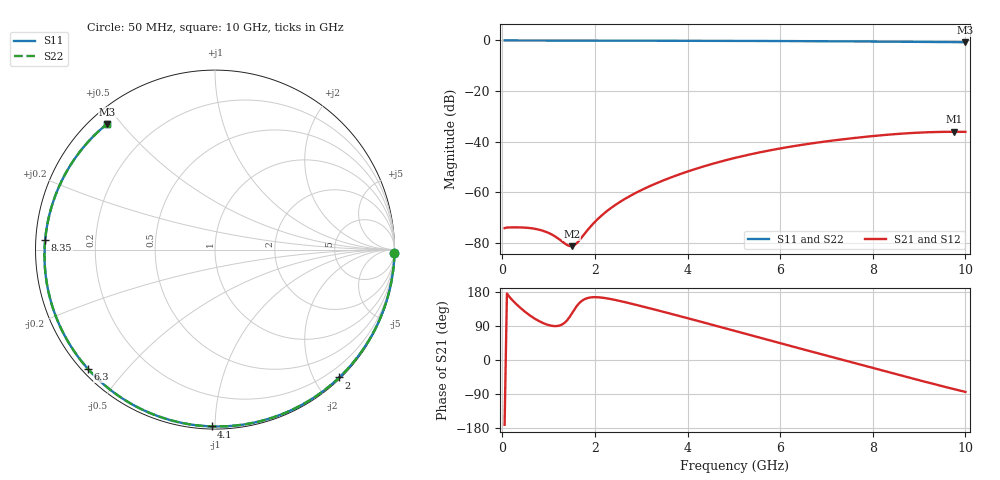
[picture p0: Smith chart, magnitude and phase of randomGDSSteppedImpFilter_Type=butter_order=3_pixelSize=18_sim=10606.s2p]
! freq	dB(S11)	phase(S11)	dB(S12)	phase(S12)
!  dB(S21)	phase(S21)	dB(S22)	phase(S22)
!S-par simulation data
#  GHz  S  DB  R 50
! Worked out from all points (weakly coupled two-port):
!   200 points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, 50 MHz to 10 GHz, reference 50 ohm
!   highest |S21| = -36.07 dB at 9.75 GHz (marker M1); lowest = -81.3 dB at 1.5 GHz (marker M2)
!   lowest |S11| = -0.7 dB at 10 GHz (marker M3), VSWR 24.89, Z = 2.43 + j22.9 ohm
!   |S11| at or under -10 dB: nowhere
!   |S22| runs from -0.7 to 0.0 dB; largest |S21 - S12| = 0
!   S11 on the Smith chart (normalised r, x): 50 MHz: 0, -98; 2 GHz: 0.02, -2.37; 4.1 GHz: 0.01, -0.98; 6.3 GHz: 0.02, -0.40; 8.35 GHz: 0.03, +0.03; 10 GHz: 0.05, +0.46
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0.05  -0.00 -1.2  -74.13 -171.1  -74.13 -171.1  -0.00 -1.2
0.4  -0.01 -9.3  -73.86 136.5  -73.86 136.5  -0.01 -9.3
0.75  -0.02 -17.4  -74.56 105.6  -74.56 105.6  -0.02 -17.4
1.05  -0.03 -24.3  -76.47 90.7  -76.47 90.7  -0.03 -24.3
1.35  -0.04 -31.2  -80.18 98.7  -80.18 98.7  -0.04 -31.2
1.5  -0.04 -34.6  -81.26 122.3  -81.26 122.3  -0.04 -34.6
1.6  -0.05 -36.8  -80.23 141.0  -80.23 141.0  -0.05 -36.8
1.75  -0.05 -40.2  -76.98 158.7  -76.98 158.7  -0.05 -40.2
2  -0.06 -45.8  -71.65 165.8  -71.65 165.8  -0.06 -45.8
2.25  -0.07 -51.3  -67.54 162.9  -67.54 162.9  -0.07 -51.3
2.6  -0.08 -59.0  -63.11 154.1  -63.11 154.1  -0.08 -59.0
3.4  -0.10 -76.3  -55.85 129.7  -55.85 129.7  -0.10 -76.3
4.1  -0.13 -91.1  -51.17 107.2  -51.17 107.2  -0.13 -91.1
5.05  -0.17 -110.8  -46.28 75.9  -46.28 75.9  -0.17 -110.8
5.65  -0.21 -123.2  -43.86 56.0  -43.86 56.0  -0.21 -123.2
6.3  -0.26 -136.8  -41.72 34.5  -41.72 34.5  -0.26 -136.8
6.7  -0.29 -145.3  -40.61 21.5  -40.61 21.5  -0.29 -145.3
7.55  -0.37 -164.1  -38.63 -6.2  -38.63 -6.2  -0.37 -164.1
8.35  -0.47 176.8  -37.19 -32.3  -37.19 -32.3  -0.47 176.8
9.05  -0.56 158.6  -36.36 -54.9  -36.36 -54.9  -0.56 158.6
9.75  -0.66 138.4  -36.07 -76.8  -36.07 -76.8  -0.66 138.4
10  -0.70 130.6  -36.10 -84.2  -36.10 -84.2  -0.70 130.6
